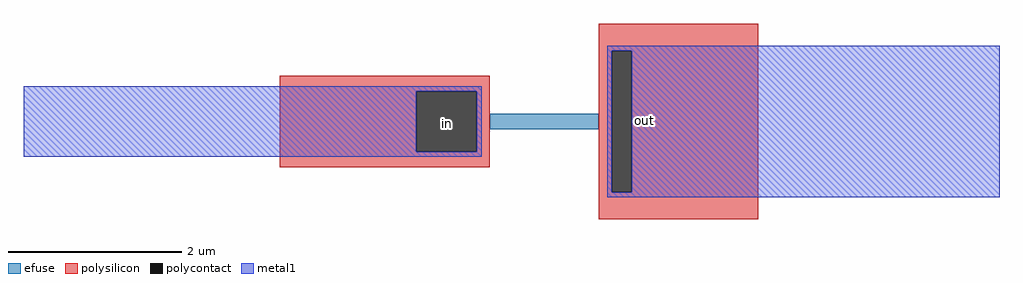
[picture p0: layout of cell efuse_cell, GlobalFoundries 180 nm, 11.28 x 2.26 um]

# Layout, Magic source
magic
tech gf180mcuD
magscale 1 10
<< polysilicon >>
rect 66333 46498 66701 46560
rect 65595 46404 66081 46440
rect 65595 46264 65911 46404
rect 66051 46264 66081 46404
rect 65595 46228 66081 46264
rect 66333 46170 66363 46498
rect 66409 46170 66701 46498
rect 66333 46108 66701 46170
<< polycontact >>
rect 65911 46264 66051 46404
rect 66363 46170 66409 46498
<< efuse >>
rect 66081 46316 66333 46352
<< metal1 >>
rect 66352 46498 67259 46509
rect 65003 46404 66062 46415
rect 65003 46264 65911 46404
rect 66051 46264 66062 46404
rect 65003 46253 66062 46264
rect 66352 46170 66363 46498
rect 66409 46170 67259 46498
rect 66352 46159 67259 46170
<< labels >>
flabel metal1 s 66438 46337 66438 46337 2 FreeSans 73 0 0 0 out
port 1 nsew
flabel metal1 s 65984 46330 65984 46330 2 FreeSans 73 0 0 0 in
port 2 nsew
<< properties >>
string GDS_END 1414
string GDS_FILE $PDKPATH/libs.ref/gf180mcu_fd_pr/gds/efuse.gds
string GDS_START 104
string gencell efuse
<< end >>
